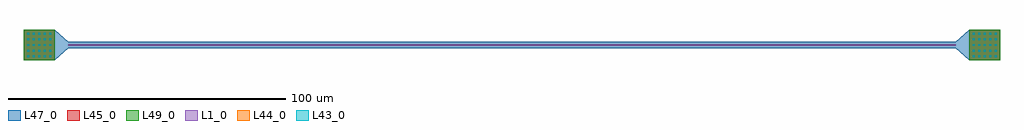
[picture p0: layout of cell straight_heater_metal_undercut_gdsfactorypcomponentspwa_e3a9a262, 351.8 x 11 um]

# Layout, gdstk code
import gdstk
lib = gdstk.Library(unit=1e-6, precision=1e-09)
def R(c, l, rs):  # rectangles x0, y0, x1, y1
    for r in rs: c.add(gdstk.rectangle(r[:2], r[2:], *l))
def A(c, l, x, y, w, h, nx, ny, dx, dy):  # array of equal rectangles
    R(c, l, [(x+i*dx, y+j*dy, x+i*dx+w, y+j*dy+h) for i in range(nx) for j in range(ny)])
def P(c, l, *ps):  # polygons
    for p in ps: c.add(gdstk.Polygon(p, *l))
L1_0 = (1, 0)
L43_0 = (43, 0)
L44_0 = (44, 0)
L45_0 = (45, 0)
L47_0 = (47, 0)
L49_0 = (49, 0)

straight_heater_metal_un = lib.new_cell('straight_heater_metal_undercut_gdsfactorypcomponentspwa_e3a9a262')
R(straight_heater_metal_un, L1_0, [(0,-0.25,320,0.25)])
A(straight_heater_metal_un, L43_0, -14.75, -4.35, 0.7, 0.7, 5, 5, 2, 2)
A(straight_heater_metal_un, L43_0, 326.05, -4.35, 0.7, 0.7, 5, 5, 2, 2)
A(straight_heater_metal_un, L44_0, -14.75, -4.35, 0.7, 0.7, 5, 5, 2, 2)
A(straight_heater_metal_un, L44_0, 326.05, -4.35, 0.7, 0.7, 5, 5, 2, 2)
R(straight_heater_metal_un, L45_0, [(-15.9,-5.5,-4.9,5.5), (324.9,-5.5,335.9,5.5)])
P(straight_heater_metal_un, L47_0, [(-15.9,-5.5),(-15.9,5.5),(-4.9,5.5),(0.1,1.25),(319.9,1.25),(324.9,5.5),(335.9,5.5),(335.9,-5.5),(324.9,-5.5),(319.9,-1.25),(0.1,-1.25),(-4.9,-5.5)])
R(straight_heater_metal_un, L49_0, [(-15.9,-5.5,-4.9,5.5), (324.9,-5.5,335.9,5.5)])

lib.write_gds('straight_heater_metal_undercut_gdsfactorypcomponentspwa_e3a9a262.gds')
